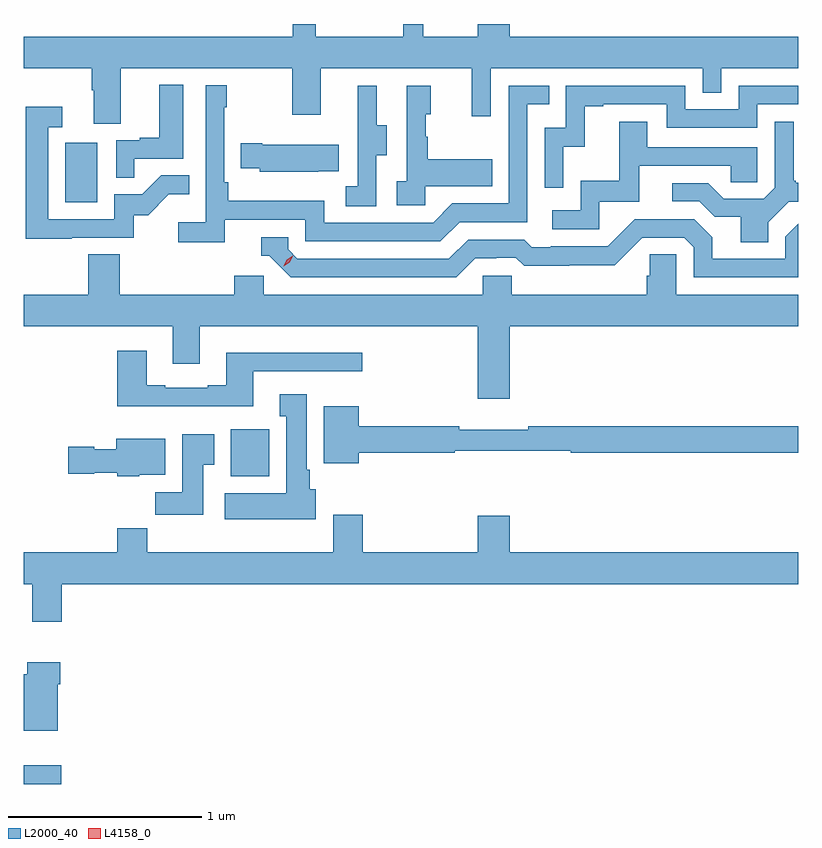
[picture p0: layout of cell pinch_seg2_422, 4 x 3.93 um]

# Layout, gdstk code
import gdstk
lib = gdstk.Library(unit=1e-6, precision=1e-09)
def R(c, l, rs):  # rectangles x0, y0, x1, y1
    for r in rs: c.add(gdstk.rectangle(r[:2], r[2:], *l))
def P(c, l, *ps):  # polygons
    for p in ps: c.add(gdstk.Polygon(p, *l))
L2000_40 = (2000, 40)
L4158_0 = (4158, 0)

pinch_seg2_422 = lib.new_cell('pinch_seg2_422')
R(pinch_seg2_422, L2000_40, [(941.883,615.968,942.076,616.065), (942.953,617.558,943.15,617.8), (942.098,618.972,942.262,619.279)])
P(pinch_seg2_422, L2000_40, [(942.385,619.664),(943.27,619.664),(943.27,619.425),(943.417,619.425),(943.417,619.664),(944.198,619.664),(944.198,619.416),(944.295,619.416),(944.295,619.664),(945.39,619.664),(945.39,619.537),(945.486,619.537),(945.486,619.664),(945.883,619.664),(945.883,619.828),(944.392,619.828),(944.392,619.893),(944.228,619.893),(944.228,619.828),(943.946,619.828),(943.946,619.893),(943.844,619.893),(943.844,619.828),(943.391,619.828),(943.391,619.893),(943.273,619.893),(943.273,619.828),(941.883,619.828),(941.883,619.664),(942.233,619.664),(942.233,619.552),(942.245,619.552),(942.245,619.378),(942.385,619.378)],
  [(942.455,619.197),(942.706,619.197),(942.706,619.579),(942.584,619.579),(942.584,619.306),(942.481,619.306),(942.481,619.293),(942.36,619.293),(942.36,619.099),(942.455,619.099)],
  [(942.92,618.882),(943.338,618.882),(943.338,618.771),(944.035,618.771),(944.134,618.87),(944.484,618.87),(944.484,619.479),(944.597,619.479),(944.597,619.575),(944.388,619.575),(944.388,618.966),(944.097,618.966),(943.998,618.867),(943.434,618.867),(943.434,618.979),(942.938,618.979),(942.938,619.075),(942.918,619.075),(942.918,619.463),(942.931,619.463),(942.931,619.576),(942.822,619.576),(942.822,618.868),(942.681,618.868),(942.681,618.766),(942.92,618.766)],
  [(944.67,619.259),(944.78,619.259),(944.78,619.467),(944.875,619.467),(944.875,619.479),(945.204,619.479),(945.204,619.356),(945.672,619.356),(945.672,619.479),(945.883,619.479),(945.883,619.575),(945.576,619.575),(945.576,619.452),(945.3,619.452),(945.3,619.575),(944.682,619.575),(944.682,619.356),(944.574,619.356),(944.574,619.047),(944.67,619.047)],
  [(943.704,619.216),(943.759,619.216),(943.759,619.371),(943.705,619.371),(943.705,619.573),(943.607,619.573),(943.607,619.359),(943.608,619.359),(943.608,619.055),(943.545,619.055),(943.545,618.952),(943.704,618.952)],
  [(943.956,619.055),(944.303,619.055),(944.303,619.195),(943.969,619.195),(943.969,619.31),(943.959,619.31),(943.959,619.428),(943.984,619.428),(943.984,619.573),(943.86,619.573),(943.86,619.082),(943.809,619.082),(943.809,618.957),(943.956,618.957)],
  [(942.131,618.789),(942.45,618.789),(942.45,618.906),(942.526,618.906),(942.633,619.013),(942.737,619.013),(942.737,619.112),(942.594,619.112),(942.496,619.014),(942.351,619.014),(942.351,618.885),(942.009,618.885),(942.009,619.359),(942.082,619.359),(942.082,619.465),(941.893,619.465),(941.893,618.784),(942.131,618.784)],
  [(944.856,618.975),(945.061,618.975),(945.061,619.161),(945.535,619.161),(945.535,619.077),(945.672,619.077),(945.672,619.257),(945.103,619.257),(945.103,619.387),(944.959,619.387),(944.959,619.084),(944.76,619.084),(944.76,618.93),(944.613,618.93),(944.613,618.834),(944.856,618.834)],
  [(945.727,618.868),(945.834,618.975),(945.883,618.975),(945.883,619.072),(945.871,619.072),(945.871,619.084),(945.859,619.084),(945.859,619.387),(945.762,619.387),(945.762,619.047),(945.705,618.99),(945.499,618.99),(945.418,619.071),(945.231,619.071),(945.231,618.978),(945.372,618.978),(945.452,618.898),(945.587,618.898),(945.587,618.766),(945.727,618.766)],
  [(943.403,619.133),(943.511,619.133),(943.511,619.27),(943.114,619.27),(943.114,619.278),(943.003,619.278),(943.003,619.148),(943.101,619.148),(943.101,619.13),(943.403,619.13)],
  [(944.215,618.684),(944.322,618.684),(944.322,618.687),(944.425,618.687),(944.467,618.645),(944.7,618.645),(944.7,618.647),(944.936,618.647),(945.078,618.789),(945.294,618.789),(945.342,618.741),(945.342,618.585),(945.883,618.585),(945.883,618.862),(945.816,618.795),(945.816,618.681),(945.439,618.681),(945.439,618.791),(945.345,618.885),(945.039,618.885),(944.898,618.744),(944.605,618.744),(944.605,618.741),(944.506,618.741),(944.467,618.78),(944.178,618.78),(944.079,618.681),(943.296,618.681),(943.248,618.729),(943.248,618.792),(943.109,618.792),(943.109,618.696),(943.152,618.696),(943.263,618.585),(944.116,618.585)],
  [(944.253,618.496),(943.122,618.496),(943.122,618.594),(942.971,618.594),(942.971,618.496),(942.38,618.496),(942.38,618.704),(942.215,618.704),(942.215,618.496),(941.883,618.496),(941.883,618.332),(942.653,618.332),(942.653,618.138),(942.793,618.138),(942.793,618.332),(944.228,618.332),(944.228,617.958),(944.392,617.958),(944.392,618.332),(945.883,618.332),(945.883,618.496),(945.252,618.496),(945.252,618.704),(945.115,618.704),(945.115,618.594),(945.101,618.594),(945.101,618.496),(944.403,618.496),(944.403,618.594),(944.253,618.594)],
  [(943.069,618.099),(943.63,618.099),(943.63,618.196),(942.929,618.196),(942.929,618.028),(942.833,618.028),(942.833,618.015),(942.613,618.015),(942.613,618.028),(942.517,618.028),(942.517,618.205),(942.365,618.205),(942.365,617.918),(943.069,617.918)],
  [(943.39,617.49),(943.36,617.49),(943.36,617.59),(943.345,617.59),(943.345,617.98),(943.205,617.98),(943.205,617.867),(943.238,617.867),(943.238,617.47),(942.921,617.47),(942.921,617.336),(943.39,617.336)],
  [(943.612,617.68),(944.108,617.68),(944.108,617.688),(944.708,617.688),(944.708,617.68),(945.883,617.68),(945.883,617.816),(944.488,617.816),(944.488,617.797),(944.132,617.797),(944.132,617.816),(943.612,617.816),(943.612,617.92),(943.433,617.92),(943.433,617.624),(943.612,617.624)],
  [(942.811,617.617),(942.868,617.617),(942.868,617.773),(942.701,617.773),(942.701,617.476),(942.562,617.476),(942.562,617.358),(942.811,617.358)],
  [(942.48,617.564),(942.613,617.564),(942.613,617.752),(942.362,617.752),(942.362,617.698),(942.246,617.698),(942.246,617.711),(942.114,617.711),(942.114,617.569),(942.246,617.569),(942.246,617.576),(942.366,617.576),(942.366,617.558),(942.48,617.558)],
  [(942.08,617),(945.883,617),(945.883,617.164),(944.392,617.164),(944.392,617.353),(944.228,617.353),(944.228,617.164),(943.634,617.164),(943.634,617.359),(943.481,617.359),(943.481,617.164),(942.521,617.164),(942.521,617.288),(942.365,617.288),(942.365,617.164),(941.883,617.164),(941.883,617),(941.927,617),(941.927,616.806),(942.08,616.806)],
  [(942.058,616.484),(942.071,616.484),(942.071,616.597),(941.9,616.597),(941.9,616.536),(941.883,616.536),(941.883,616.244),(942.058,616.244)])
P(pinch_seg2_422, L4158_0, [(943.225,618.643),(943.225,618.643),(943.241,618.676),(943.272,618.695),(943.272,618.695),(943.272,618.695),(943.256,618.662),(943.225,618.643)])

lib.write_gds('pinch_seg2_422.gds')
